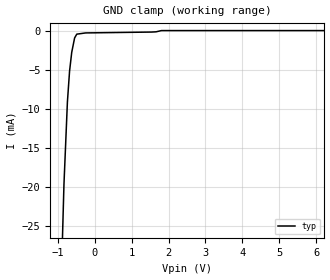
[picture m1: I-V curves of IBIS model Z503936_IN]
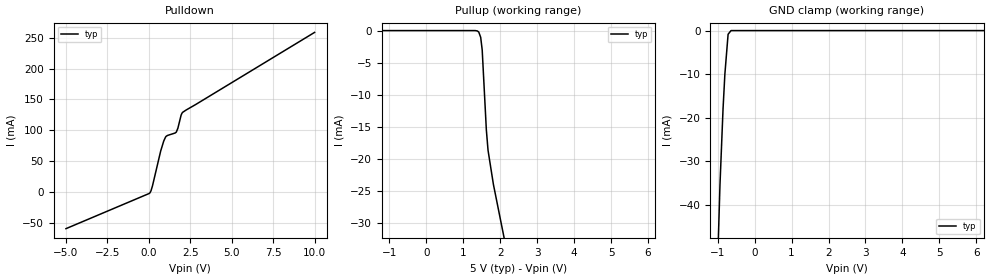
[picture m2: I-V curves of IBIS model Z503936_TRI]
| YOU ARE ONLY AUTHORIZED TO USE THIS SOFTWARE
| ACCORDING TO LICENSOR'S LICENSE RESTRICTIONS.
[IBIS Ver] 3.1
[File Name] mc54f374j.ibs
[File Rev] 2.0
[Source] Measured and created by ICX Technology
[Date] Friday 7/14/00 9:08:03 AM
[Copyright]
| (C) COPYRIGHT 1993-2000
| MENTOR GRAPHICS CORPORATION
| ICX STANDARD LIBRARY, ICX PROJECT MODELING,
| ICX CUSTOM MODELING, ICX VENDOR MODEL
| ALL RIGHTS RESERVED.
| THE FOLLOWING ARE TRADEMARKS OR SERVICE MARKS OF
| MENTOR GRAPHICS CORPORATION:ICX (R), ICX STANDARD
| LIBRARY(R), ICX PROJECT MODELING(R), ICX CUSTOM
| MODELING(R), qualityIBIS(TM), MODELVIEWER(TM),
| AND MODELEDITOR(TM)
| ALL COPIES OF SOFTWARE, INCLUDING BUT NOT LIMITED TO
| ANY MODIFICATIONS, ENHANCEMENTS OR DERIVATIVE WORKS,
| MUST CONTAIN ALL MENTOR GRAPHICS CORPORATION'S
| NOTICES AND LEGENDS, INCLUDING THOSE EMBEDDED IN
| SOFTWARE AND THOSE AFFIXED TO SOFTWARE MEDIUM
| AND CONTAINER, AS RECEIVED FROM MENTOR GRAPHICS
| CORPORATION.
|  ZAP Model Builder 2.7
[Component] MC54F374J
[Manufacturer] OnSemiconductor
[Package]
| variable   typ   min   max
R_pkg  .216ohms NA NA
L_pkg  5.76nH NA NA
C_pkg  2.193pF NA NA
[Pin] signal_name  model_name  R_pin  L_pin C_pin
1 _G Z503936_IN .232 9.76n 3.179p
2 Q0 Z503936_TRI .224 7.26n 2.686p
3 D0 Z503936_IN .216 5.26n 2.193p
4 D1 Z503936_IN .208 3.76n 1.7p
5 Q1 Z503936_TRI .2 2.76n 1.207p
6 Q2 Z503936_TRI .2 2.76n 1.207p
7 D2 Z503936_IN .208 3.76n 1.7p
8 D3 Z503936_IN .216 5.26n 2.193p
9 Q3 Z503936_TRI .224 7.26n 2.686p
10 GND GND .232 9.76n 3.179p
11 CLK Z503936_IN .232 9.76n 3.179p
12 Q4 Z503936_TRI .224 7.26n 2.686p
13 D4 Z503936_IN .216 5.26n 2.193p
14 D5 Z503936_IN .208 3.76n 1.7p
15 Q5 Z503936_TRI .2 2.76n 1.207p
16 Q6 Z503936_TRI .2 2.76n 1.207p
17 D6 Z503936_IN .208 3.76n 1.7p
18 D7 Z503936_IN .216 5.26n 2.193p
19 Q7 Z503936_TRI .224 7.26n 2.686p
20 VCC POWER .232 9.76n 3.179p
| Models and submodels in the file (2): Z503936_IN (Input), Z503936_TRI (3-state)
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| (C) COPYRIGHT 1993-2000
| MENTOR GRAPHICS CORPORATION
| ICX STANDARD LIBRARY, ICX PROJECT MODELING,
| ICX CUSTOM MODELING, ICX VENDOR MODEL
| ALL RIGHTS RESERVED.
| THE FOLLOWING ARE TRADEMARKS OR SERVICE MARKS OF
| MENTOR GRAPHICS CORPORATION:ICX (R), ICX STANDARD
| LIBRARY(R), ICX PROJECT MODELING(R), ICX CUSTOM
| MODELING(R), qualityIBIS(TM), MODELVIEWER(TM),
| AND MODELEDITOR(TM)
| ALL COPIES OF SOFTWARE, INCLUDING BUT NOT LIMITED TO
| ANY MODIFICATIONS, ENHANCEMENTS OR DERIVATIVE WORKS,
| MUST CONTAIN ALL MENTOR GRAPHICS CORPORATION'S
| NOTICES AND LEGENDS, INCLUDING THOSE EMBEDDED IN
| SOFTWARE AND THOSE AFFIXED TO SOFTWARE MEDIUM
| AND CONTAINER, AS RECEIVED FROM MENTOR GRAPHICS
| CORPORATION.
| Model Application Version 1.89 2/18/99.
[Model] Z503936_IN
Model_type Input
Vinl = 800.0mV
Vinh = 2.000V
C_comp 4.000pF NA NA
| variable typ   min   max
[Voltage Range] 5.000V NA NA
[GND Clamp Reference] 0.000V NA NA
[POWER Clamp Reference] 5.000V NA NA
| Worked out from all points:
|   GND clamp passes 1 mA (typ) near -0.54 V on its own axis
[GND Clamp]
-5V       -725.7mA   NA         NA
-829.7mV  -19.66mA   NA         NA
-736.4mV  -9.123mA   NA         NA
-678.2mV  -5.195mA   NA         NA
-619.6mV  -2.783mA   NA         NA
-541.5mV  -943.6uA   NA         NA
-482.9mV  -460.4uA   NA         NA
-241.4mV  -302.9uA   NA         NA
1.544V    -192.6uA   NA         NA
1.665V    -160.1uA   NA         NA
1.807V    -3.886uA   NA         NA
10V       -3.886uA   NA         NA
[POWER Clamp]
-5V       0A         NA         NA
10V       0A         NA         NA
| (C) COPYRIGHT 1993-2000
| MENTOR GRAPHICS CORPORATION
| ICX STANDARD LIBRARY, ICX PROJECT MODELING,
| ICX CUSTOM MODELING, ICX VENDOR MODEL
| ALL RIGHTS RESERVED.
| THE FOLLOWING ARE TRADEMARKS OR SERVICE MARKS OF
| MENTOR GRAPHICS CORPORATION:ICX (R), ICX STANDARD
| LIBRARY(R), ICX PROJECT MODELING(R), ICX CUSTOM
| MODELING(R), qualityIBIS(TM), MODELVIEWER(TM),
| AND MODELEDITOR(TM)
| ALL COPIES OF SOFTWARE, INCLUDING BUT NOT LIMITED TO
| ANY MODIFICATIONS, ENHANCEMENTS OR DERIVATIVE WORKS,
| MUST CONTAIN ALL MENTOR GRAPHICS CORPORATION'S
| NOTICES AND LEGENDS, INCLUDING THOSE EMBEDDED IN
| SOFTWARE AND THOSE AFFIXED TO SOFTWARE MEDIUM
| AND CONTAINER, AS RECEIVED FROM MENTOR GRAPHICS
| CORPORATION.
| Model Application Version 1.89 2/18/99.
[Model] Z503936_TRI
Model_type 3-state
Vref=0.000V
Rref=500.0ohms
Cref=50.00pF
Vmeas=1.500V
C_comp 8.000pF NA NA
| variable typ   min   max
[Voltage Range] 5.000V NA NA
[POWER Clamp Reference] 5.000V NA NA
[Pullup Reference] 5.000V NA NA
[Pulldown Reference] 0.000V NA NA
[GND Clamp Reference] 0.000V NA NA
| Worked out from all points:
|   slope of the pulldown table from 0 to 0.75 V, typ, clamps not added: 10.4 ohm
|   GND clamp passes 1 mA (typ) near -0.72 V on its own axis
[GND Clamp]
-5V       -2.022A    NA         NA
-1.136V   -104.4mA   NA         NA
-1.011V   -56.04mA   NA         NA
-936.9mV  -35.26mA   NA         NA
-854.5mV  -17.96mA   NA         NA
-805mV    -10.01mA   NA         NA
-717.8mV  -847.7uA   NA         NA
-638mV    0A         NA         NA
10V       0A         NA         NA
[Pulldown]
-5V       -58.66mA   NA         NA
29.79mV   -1.742mA   NA         NA
128.5mV   2.319mA    NA         NA
219.3mV   10.33mA    NA         NA
714.9mV   66.76mA    NA         NA
898.4mV   82.8mA     NA         NA
1.045V    90.53mA    NA         NA
1.657V    97.32mA    NA         NA
1.753V    103.6mA    NA         NA
1.948V    124.8mA    NA         NA
2.041V    129.3mA    NA         NA
10V       258.4mA    NA         NA
[Pullup]
-5V       -989.5nA   NA         NA
1.326V    -989.5nA   NA         NA
1.383V    -62.39uA   NA         NA
1.421V    -229.7uA   NA         NA
1.473V    -1.052mA   NA         NA
1.514V    -3.019mA   NA         NA
1.626V    -15.47mA   NA         NA
1.672V    -18.68mA   NA         NA
1.817V    -23.99mA   NA         NA
10V       -259.7mA   NA         NA
[POWER Clamp]
-5V       0A         NA         NA
10V       0A         NA         NA
[Ramp]
| variable typ min max
dV/dt_r 2.023/2.973n NA NA
dV/dt_f 2.023/1.151n NA NA
R_load = 500.0Ohms
